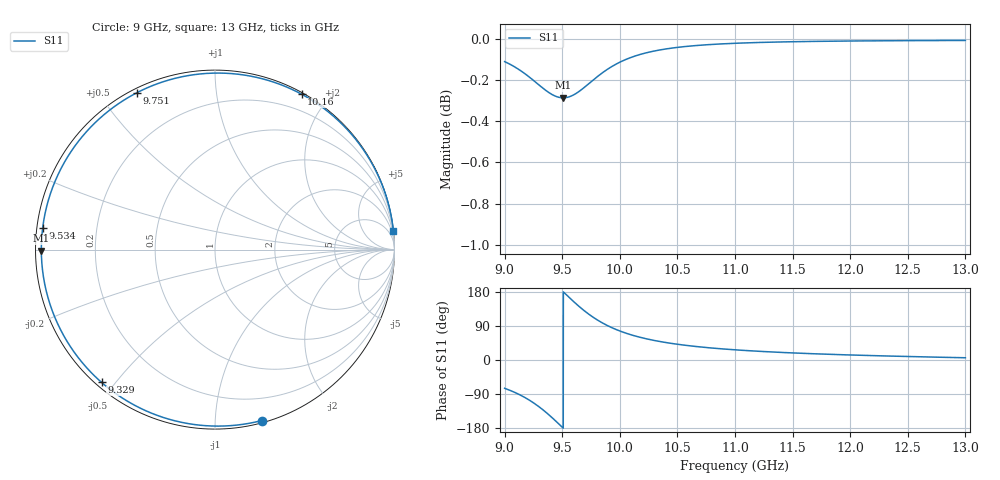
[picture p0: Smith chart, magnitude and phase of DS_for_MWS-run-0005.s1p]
! TOUCHSTONE file generated by CST DESIGN STUDIO
! Date and time: Tue Feb  4 13:47:40 2025
! Project name: C:\Work\MatlabApps\UnitCellOptimizationMatlab\CST\unitcell.cst
! Tree item: Tasks\Sweep1\SPara1\S-Parameters
! Header version: 2024
! Port assignment regex: !\s*Touchstone port\s*([0-9]+)\s*=\s*(CST MWS port|CST DES external port|CST DES block port)\s*(.+)\s* \(\"(.*)\"\)(\s*mode\s*([0-9]+))?.*
! Touchstone port assignment:
! Touchstone port 1 = CST DES external port 1 ("")
# GHz S MA R 50
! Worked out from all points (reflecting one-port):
!   4001 points, 9 GHz to 13 GHz, reference 50 ohm
!   lowest |S11| = -0.3 dB at 9.508 GHz (marker M1), VSWR 60.79, Z = 0.823 - j0.164 ohm
!   phase of S11 starts at -75 deg and turns -279 deg over the sweep
!   S11 on the Smith chart (normalised r, x): 9 GHz: 0.02, -1.31; 9.329 GHz: 0.02, -0.46; 9.534 GHz: 0.02, +0.06; 9.751 GHz: 0.02, +0.62; 10.16 GHz: 0.02, +1.70; 13 GHz: 0, +19
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9  0.9875 -74.6
9.087  0.9845 -85.4
9.19  0.9801 -101.4
9.263  0.9765 -115.6
9.329  0.9731 -130.5
9.375  0.9709 -142.1
9.423  0.969 -155.1
9.462  0.9681 -166.2
9.5  0.9676 -177.3
9.508  0.9676 -179.6
9.534  0.9678 172.8
9.588  0.9689 157.3
9.648  0.9712 141.0
9.699  0.9737 128.2
9.751  0.9764 116.5
9.802  0.979 106.2
9.859  0.9817 96.2
10  0.9871 76.6
10.079  0.9893 68.3
10.164  0.9912 60.8
10.317  0.9935 50.5
10.5  0.9953 41.5
10.722  0.9967 33.7
11  0.9976 26.8
11.5  0.9985 18.7
12  0.9989 13.3
12.5  0.9991 9.2
13  0.9992 5.9
